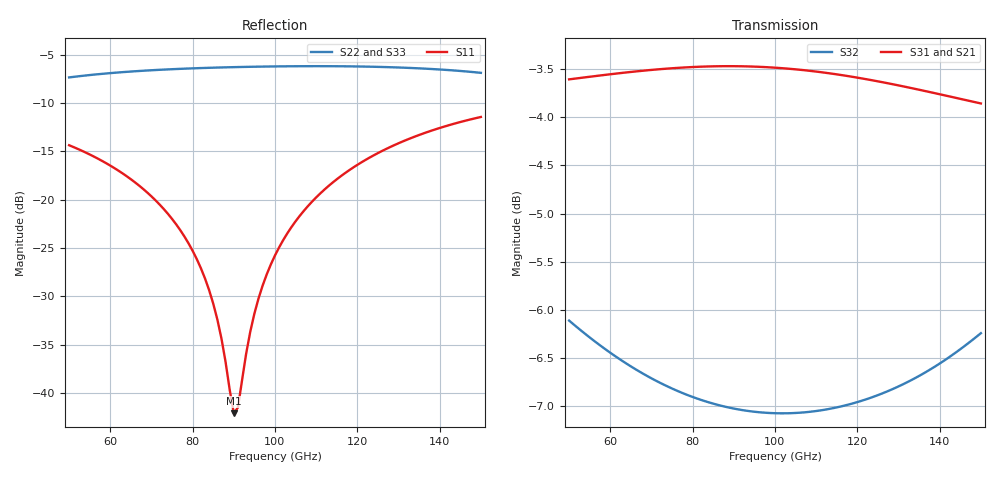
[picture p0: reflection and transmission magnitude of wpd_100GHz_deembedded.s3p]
! Created with skrf 2.0.1 (http://scikit-rf.org).
# GHz S DB R 50.0
!freq dBS11 angS11 dBS12 angS12 dBS13 angS13
! dBS21 angS21 dBS22 angS22 dBS23 angS23
! dBS31 angS31 dBS32 angS32 dBS33 angS33
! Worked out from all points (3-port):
!   101 points, 50 GHz to 150 GHz, reference 50 ohm
!   strongest paths, dB at 50 GHz, 75 GHz, 100 GHz, 125 GHz, 150 GHz:
!     S31: -3.6, -3.5, -3.5, -3.6, -3.9
!     S21: -3.6, -3.5, -3.5, -3.6, -3.9
!     S32: -6.1, -6.8, -7.1, -6.9, -6.2
!   lowest |S11| = -42.1 dB at 90 GHz (marker M1), VSWR 1.02, Z = 50.7 + j0.347 ohm
!   |S11| at or under -10 dB: start of sweep to end of sweep
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50  -14.38 135.3  -3.61 -43.8  -3.61 -43.8
    -3.61 -43.8  -7.37 49.2  -6.11 -99.0
    -3.61 -43.8  -6.11 -99.0  -7.38 49.1
67  -18.55 119.3  -3.53 -59.2  -3.52 -59.2
    -3.53 -59.2  -6.70 28.3  -6.64 -127.9
    -3.52 -59.2  -6.64 -127.9  -6.72 28.3
78  -23.81 106.6  -3.49 -69.4  -3.48 -69.4
    -3.49 -69.4  -6.46 17.0  -6.87 -146.0
    -3.48 -69.4  -6.87 -146.0  -6.48 16.9
85  -30.75 91.9  -3.48 -75.9  -3.47 -75.9
    -3.48 -75.9  -6.36 10.3  -6.97 -157.5
    -3.47 -75.9  -6.97 -157.5  -6.38 10.2
90  -42.09 25.8  -3.48 -80.6  -3.47 -80.6
    -3.48 -80.6  -6.30 5.7  -7.02 -165.6
    -3.47 -80.6  -7.02 -165.6  -6.33 5.6
91  -41.49 -12.6  -3.48 -81.5  -3.47 -81.6
    -3.48 -81.5  -6.29 4.8  -7.03 -167.2
    -3.47 -81.6  -7.03 -167.2  -6.32 4.6
95  -31.78 -64.3  -3.49 -85.3  -3.48 -85.3
    -3.49 -85.3  -6.26 1.1  -7.05 -173.7
    -3.48 -85.3  -7.05 -173.7  -6.29 1.0
100  -25.77 -77.4  -3.50 -90.0  -3.49 -90.0
     -3.50 -90.0  -6.23 -3.4  -7.07 178.2
     -3.49 -90.0  -7.07 178.2  -6.26 -3.5
118  -16.97 -98.6  -3.59 -106.8  -3.58 -106.9
     -3.59 -106.8  -6.22 -19.9  -6.98 148.8
     -3.58 -106.9  -6.98 148.8  -6.25 -20.1
150  -11.46 -126.9  -3.87 -135.7  -3.86 -135.8
     -3.87 -135.7  -6.89 -55.9  -6.24 95.0
     -3.86 -135.8  -6.24 95.0  -6.93 -56.1
